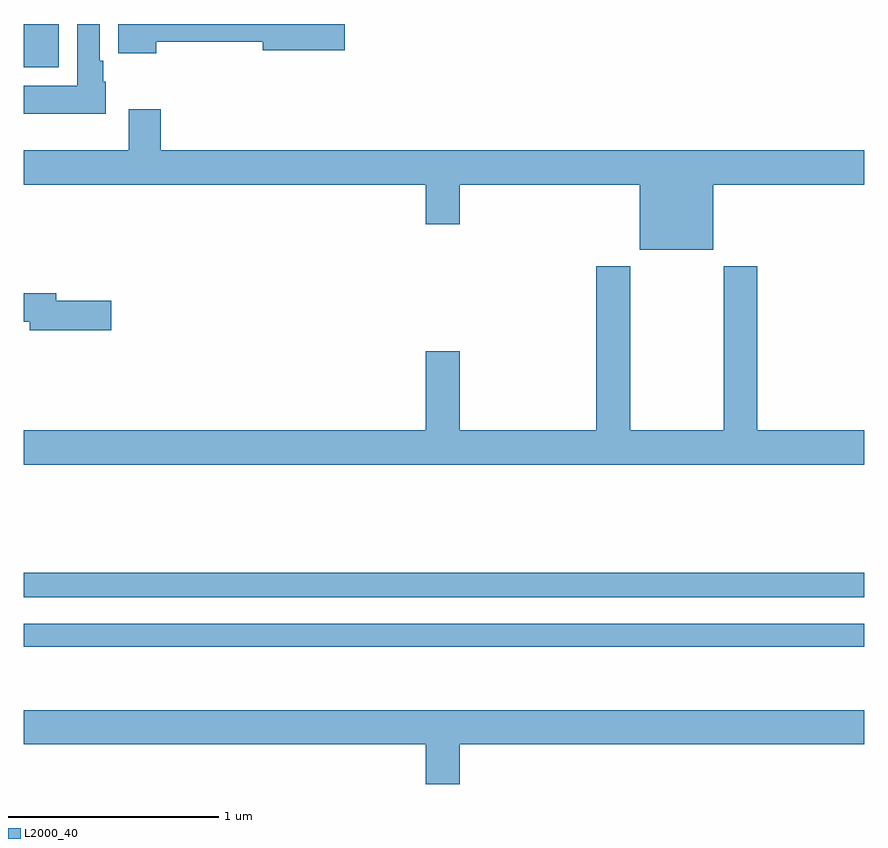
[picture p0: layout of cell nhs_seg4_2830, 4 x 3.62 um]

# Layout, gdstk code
import gdstk
lib = gdstk.Library(unit=1e-6, precision=1e-09)
def R(c, l, rs):  # rectangles x0, y0, x1, y1
    for r in rs: c.add(gdstk.rectangle(r[:2], r[2:], *l))
def P(c, l, *ps):  # polygons
    for p in ps: c.add(gdstk.Polygon(p, *l))
L2000_40 = (2000, 40)

nhs_seg4_2830 = lib.new_cell('nhs_seg4_2830')
R(nhs_seg4_2830, L2000_40, [(259,811.938,263,812.046), (259,812.172,263,812.288), (259,814.694,259.168,814.9)])
P(nhs_seg4_2830, L2000_40, [(259.39,814.626),(259.378,814.626),(259.378,814.726),(259.363,814.726),(259.363,814.9),(259.256,814.9),(259.256,814.606),(259,814.606),(259,814.472),(259.39,814.472)],
  [(259.63,814.816),(260.138,814.816),(260.138,814.774),(260.527,814.774),(260.527,814.9),(259.451,814.9),(259.451,814.76),(259.63,814.76)],
  [(262.282,814.136),(263,814.136),(263,814.3),(259.652,814.3),(259.652,814.495),(259.499,814.495),(259.499,814.3),(259,814.3),(259,814.136),(260.912,814.136),(260.912,813.948),(261.076,813.948),(261.076,814.136),(261.932,814.136),(261.932,813.827),(262.282,813.827)],
  [(263,812.968),(262.49,812.968),(262.49,813.748),(262.33,813.748),(262.33,812.968),(261.885,812.968),(261.885,813.748),(261.725,813.748),(261.725,812.968),(261.076,812.968),(261.076,813.343),(260.912,813.343),(260.912,812.968),(259,812.968),(259,812.804),(263,812.804)],
  [(259.416,813.584),(259.156,813.584),(259.156,813.62),(259,813.62),(259,813.484),(259.028,813.484),(259.028,813.442),(259.416,813.442)],
  [(261.076,811.472),(263,811.472),(263,811.636),(259,811.636),(259,811.472),(260.912,811.472),(260.912,811.284),(261.076,811.284)])

lib.write_gds('nhs_seg4_2830.gds')
